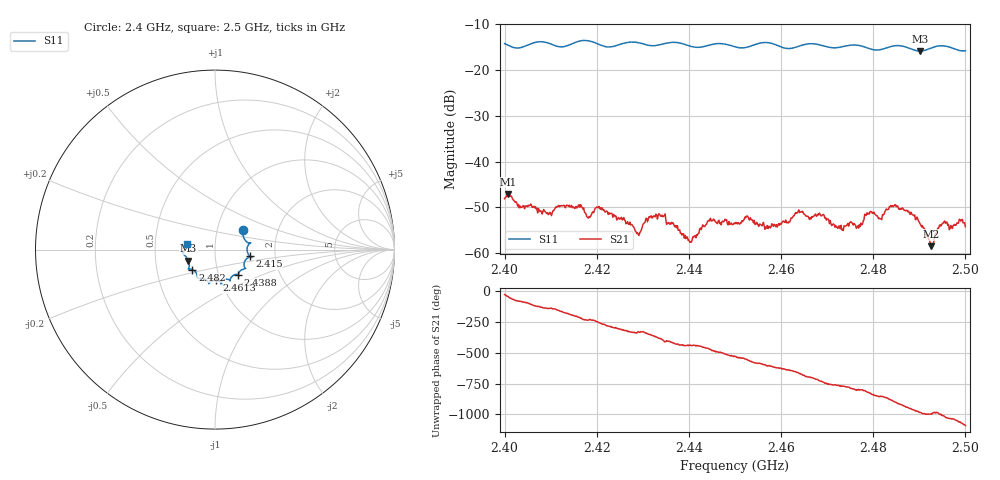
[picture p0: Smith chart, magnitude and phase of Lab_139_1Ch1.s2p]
# Hz S RI R 50
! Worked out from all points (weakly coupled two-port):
!   601 points, 2.4 GHz to 2.5 GHz, reference 50 ohm
!   highest |S21| = -47.04 dB at 2.4008 GHz (marker M1); lowest = -58.4 dB at 2.4925 GHz (marker M2)
!   lowest |S11| = -15.9 dB at 2.4902 GHz (marker M3), VSWR 1.38, Z = 36.8 - j4.65 ohm
!   |S11| at or under -10 dB: start of sweep to end of sweep
!   S12 and S22 are empty: the file has one direction only
!   S11 on the Smith chart (normalised r, x): 2.4 GHz: 1.33, +0.31; 2.415 GHz: 1.47, -0.11; 2.4388 GHz: 1.24, -0.36; 2.4613 GHz: 0.96, -0.34; 2.482 GHz: 0.76, -0.17; 2.5 GHz: 0.72, +0.05
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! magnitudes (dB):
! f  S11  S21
! 2.4 GHz  -14.3  -48.1
! 2.4008 GHz  -14.6  -47.0
! 2.4097 GHz  -14.2  -51.4
! 2.415 GHz  -14.2  -49.9
! 2.4167 GHz  -13.6  -49.8
! 2.421 GHz  -14.6  -50.5
! 2.4288 GHz  -14.0  -55.5
! 2.4333 GHz  -14.6  -51.7
! 2.4388 GHz  -14.4  -55.7
! 2.4403 GHz  -14.8  -57.4
! 2.4448 GHz  -14.5  -52.9
! 2.45 GHz  -15.0  -53.5
! 2.4613 GHz  -15.3  -53.2
! 2.4642 GHz  -14.7  -51.0
! 2.4667 GHz  -14.3  -52.0
! 2.4733 GHz  -14.9  -54.7
! 2.482 GHz  -15.5  -51.6
! 2.4833 GHz  -15.0  -50.4
! 2.4902 GHz  -15.9  -53.6
! 2.4925 GHz  -15.2  -58.4
! 2.495 GHz  -14.7  -53.5
! 2.5 GHz  -15.8  -54.2
